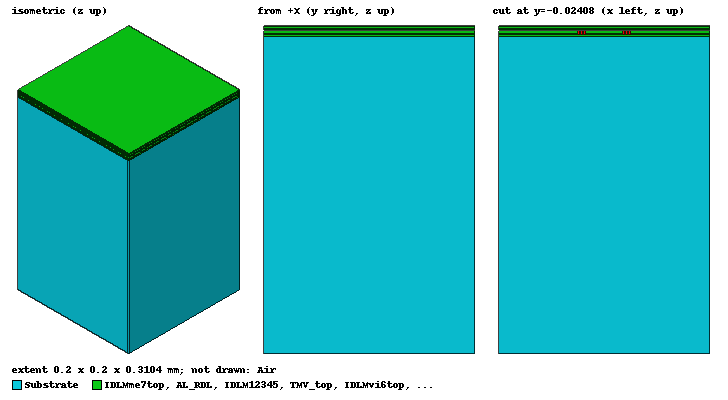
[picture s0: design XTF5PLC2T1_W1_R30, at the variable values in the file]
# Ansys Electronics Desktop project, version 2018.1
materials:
  vacuum: permittivity=1
  UMC40_SI: permittivity=11.9 permeability=1 conductivity=10 lande_g_factor=2
  UMC40_IDL: permittivity=2.6 permeability=1 conductivity=10 lande_g_factor=2
  UMC40_IDL2p6: permittivity=2.6 permeability=1 conductivity=10 lande_g_factor=2
  UMC40_IDL4p2: permittivity=4.2 permeability=1 conductivity=10 lande_g_factor=2
  UMC40_IDL5: permittivity=5 permeability=1 conductivity=10 lande_g_factor=2
  UMC40_IDL7: permittivity=7 permeability=1 conductivity=10 lande_g_factor=2
  ME1: permittivity=1 permeability=1 conductivity=30300000 lande_g_factor=2
  ME2: permittivity=1 permeability=1 conductivity=30300000 lande_g_factor=2
  ME3: permittivity=1 permeability=1 conductivity=30300000 lande_g_factor=2
  ME4: permittivity=1 permeability=1 conductivity=30300000 lande_g_factor=2
  ME5: permittivity=1 permeability=1 conductivity=30300000 lande_g_factor=2
  ME6: permittivity=1 permeability=1 conductivity=30300000 lande_g_factor=2
  ME7: permittivity=1 permeability=1 conductivity=30300000 lande_g_factor=2
  AL_RDL: permittivity=1 permeability=1 conductivity=30300000 lande_g_factor=2
  TMV_RDL: permittivity=1 permeability=1 conductivity=3143000 lande_g_factor=2
  VI6: permittivity=1 permeability=1 conductivity=1160000 lande_g_factor=2
  VI5: permittivity=1 permeability=1 conductivity=1160000 lande_g_factor=2
  VI4: permittivity=1 permeability=1 conductivity=1160000 lande_g_factor=2
  VI3: permittivity=1 permeability=1 conductivity=1160000 lande_g_factor=2
  VI2: permittivity=1 permeability=1 conductivity=1160000 lande_g_factor=2
  VI1: permittivity=1 permeability=1 conductivity=1160000 lande_g_factor=2
  air: permittivity=1.0006 permeability=1.0000004
  default_via_material: permeability=0.999991 conductivity=58000000
  default_via_material0: permeability=0.999991 conductivity=58000000
  default_via_material1: permeability=0.999991 conductivity=58000000
  default_via_material2: permeability=0.999991 conductivity=58000000
  default_via_material3: permeability=0.999991 conductivity=58000000
  default_via_material4: permeability=0.999991 conductivity=58000000
  default_via_material5: permeability=0.999991 conductivity=58000000
  default_via_material6: permeability=0.999991 conductivity=58000000
  default_via_material7: permeability=0.999991 conductivity=58000000
  default_via_material8: permeability=0.999991 conductivity=58000000
  default_via_material9: permeability=0.999991 conductivity=58000000
  default_via_material10: permeability=0.999991 conductivity=58000000
  default_via_material11: permeability=0.999991 conductivity=58000000
  default_via_material12: permeability=0.999991 conductivity=58000000
  default_via_material13: permeability=0.999991 conductivity=58000000

design XTF5PLC2T1_W1_R30 (HFSS, DrivenModal, model units mm)
options: Allow_Material_Override
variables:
  extent_x_pos = 1000mm
  extent_y_pos = 1000mm
  extent_x_size = -1000mm
  extent_y_size = -1000mm
  ME1_thickness = 0.00014mm
  ME1_lower_elevation = 0.30033mm
  extent_x_pos_1 = 1000mm
  extent_y_pos_1 = 1000mm
  extent_x_size_1 = -1000mm
  extent_y_size_1 = -1000mm
  ME2_thickness = 0.00014mm
  ME2_lower_elevation = 0.300575mm
  extent_x_pos_2 = 1000mm
  extent_y_pos_2 = 1000mm
  extent_x_size_2 = -1000mm
  extent_y_size_2 = -1000mm
  ME3_thickness = 0.00014mm
  ME3_lower_elevation = 0.300092mm
  extent_x_pos_3 = 1000mm
  extent_y_pos_3 = 1000mm
  extent_x_size_3 = -1000mm
  extent_y_size_3 = -1000mm
  ME4_thickness = 0.00014mm
  ME4_lower_elevation = 0.301095mm
  extent_x_pos_4 = 1000mm
  extent_y_pos_4 = 1000mm
  extent_x_size_4 = -1000mm
  extent_y_size_4 = -1000mm
  ME5_thickness = 0.00014mm
  ME5_lower_elevation = 0.301355mm
  extent_x_pos_5 = 1000mm
  extent_y_pos_5 = 1000mm
  extent_x_size_5 = -1000mm
  extent_y_size_5 = -1000mm
  ME6_thickness = 0.00014mm
  ME6_lower_elevation = 0.301615mm
  extent_x_pos_6 = -0.0345mm
  extent_y_pos_6 = -0.036mm
  extent_x_size_6 = 0.069mm
  extent_y_size_6 = 0.0705mm
  ME7_thickness = 0.0034mm
  ME7_lower_elevation = 0.302345mm
  extent_x_pos_7 = 1000mm
  extent_y_pos_7 = 1000mm
  extent_x_size_7 = -1000mm
  extent_y_size_7 = -1000mm
  AL_RDL_thickness = 0.0032mm
  AL_RDL_lower_elevation = 0.300515mm
  extent_x_pos_8 = 1000mm
  extent_y_pos_8 = 1000mm
  extent_x_size_8 = -1000mm
  extent_y_size_8 = -1000mm
  TMV_RDL_thickness = 0.00077mm
  TMV_RDL_lower_elevation = 0.305745mm
  extent_x_pos_9 = 1000mm
  extent_y_pos_9 = 1000mm
  extent_x_size_9 = -1000mm
  extent_y_size_9 = -1000mm
  VI6_thickness = 0.00059mm
  VI6_lower_elevation = 0.301755mm
  extent_x_pos_10 = 1000mm
  extent_y_pos_10 = 1000mm
  extent_x_size_10 = -1000mm
  extent_y_size_10 = -1000mm
  VI5_thickness = 0.000115mm
  VI5_lower_elevation = 0.301495mm
  extent_x_pos_11 = 1000mm
  extent_y_pos_11 = 1000mm
  extent_x_size_11 = -1000mm
  extent_y_size_11 = -1000mm
  VI4_thickness = 0.00012mm
  VI4_lower_elevation = 0.301235mm
  extent_x_pos_12 = 1000mm
  extent_y_pos_12 = 1000mm
  extent_x_size_12 = -1000mm
  extent_y_size_12 = -1000mm
  VI3_thickness = 0.00012mm
  VI3_lower_elevation = 0.300985mm
  extent_x_pos_13 = 1000mm
  extent_y_pos_13 = 1000mm
  extent_x_size_13 = -1000mm
  extent_y_size_13 = -1000mm
  VI2_thickness = 0.00012mm
  VI2_lower_elevation = 0.300715mm
  extent_x_pos_14 = 1000mm
  extent_y_pos_14 = 1000mm
  extent_x_size_14 = -1000mm
  extent_y_size_14 = -1000mm
  VI1_thickness = 0.00012mm
  VI1_lower_elevation = 0.300455mm
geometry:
  Substrate [UMC40_SI] = box(corner=(-100um, -100um, 0um), size=(200um, 200um, 300um))
  IDLM12345 [UMC40_IDL] = box(corner=(-100um, -100um, 300um), size=(200um, 200um, 1.67um))
  IDLM6 [UMC40_IDL2p6] = box(corner=(-100um, -100um, 301.67um), size=(200um, 200um, 0.14um))
  IDLMvi6sub [UMC40_IDL5] = box(corner=(-100um, -100um, 301.75um), size=(200um, 200um, 0.06um))
  IDLMvi6top [UMC40_IDL4p2] = box(corner=(-100um, -100um, 301.81um), size=(200um, 200um, 0.53um))
  IDLMme7sub [UMC40_IDL5] = box(corner=(-100um, -100um, 302.34um), size=(200um, 200um, 0.2um))
  IDLMme7top [UMC40_IDL4p2] = box(corner=(-100um, -100um, 302.54um), size=(200um, 200um, 3.2um))
  TMV_sub [UMC40_IDL7] = box(corner=(-100um, -100um, 305.745um), size=(200um, 200um, 0.07um))
  TMV_top [UMC40_IDL4p2] = box(corner=(-100um, -100um, 306.515um), size=(200um, 200um, 0.7um))
  AL_RDL [AL_RDL] = box(corner=(-100um, -100um, 307.215um), size=(200um, 200um, 3.2um))
  PSV [UMC40_IDL7] = box(corner=(-100um, -100um, 309.715um), size=(200um, 200um, 0.5um))
  Air [Air] = box(corner=(-200um, -200um, -100um), size=(400um, 400um, 400um))
  ME7_1 [ME7] = polyline(z=ME7_lower_elevation, xy in mm: (0.0005, -0.032) (-0.0005, -0.032) (-0.0005, -0.035) (0.0005, -0.035) (0.0005, -0.032), closed, covered)
  ME7_1.sweep_along_vector((0mm, 0mm, ME7_thickness))
  ME7_2 [ME7] = polyline(z=ME7_lower_elevation, xy in mm: (0.003, 0.0315) (0.013547, 0.0315) (0.01384, 0.031793) (0.01384, 0.032207) (0.013547, 0.0325) (0.003, 0.0325) (0.003, 0.0315), closed, covered)
  ME7_2.sweep_along_vector((0mm, 0mm, ME7_thickness))
  ME7_3 [ME7] = polyline(z=ME7_lower_elevation, xy in mm: (0.031793, 0.01284) (0.032207, 0.01284) (0.0325, 0.013133) (0.0325, 0.013547) (0.013547, 0.0325) (0.013133, 0.0325) (0.01284, 0.032207) (0.01284, 0.031793) (0.031793, 0.01284), closed, covered)
  ME7_3.sweep_along_vector((0mm, 0mm, ME7_thickness))
  ME7_4 [ME7] = polyline(z=ME7_lower_elevation, xy in mm: (0.031793, -0.01384) (0.032207, -0.01384) (0.0325, -0.013547) (0.0325, 0.013547) (0.032207, 0.01384) (0.031793, 0.01384) (0.0315, 0.013547) (0.0315, -0.013547) (0.031793, -0.01384), closed, covered)
  ME7_4.sweep_along_vector((0mm, 0mm, ME7_thickness))
  ME7_5 [ME7] = polyline(z=ME7_lower_elevation, xy in mm: (0.013133, -0.0325) (0.013547, -0.0325) (0.0325, -0.013547) (0.0325, -0.013133) (0.032207, -0.01284) (0.031793, -0.01284) (0.01284, -0.031793) (0.01284, -0.032207) (0.013133, -0.0325), closed, covered)
  ME7_5.sweep_along_vector((0mm, 0mm, ME7_thickness))
  ME7_6 [ME7] = polyline(z=ME7_lower_elevation, xy in mm: (-0.013547, -0.0325) (0.013547, -0.0325) (0.01384, -0.032207) (0.01384, -0.031793) (0.013547, -0.0315) (-0.013547, -0.0315) (-0.01384, -0.031793) (-0.01384, -0.032207) (-0.013547, -0.0325), closed, covered)
  ME7_6.sweep_along_vector((0mm, 0mm, ME7_thickness))
  ME7_7 [ME7] = polyline(z=ME7_lower_elevation, xy in mm: (-0.013547, -0.0325) (-0.013133, -0.0325) (-0.01284, -0.032207) (-0.01284, -0.031793) (-0.031793, -0.01284) (-0.032207, -0.01284) (-0.0325, -0.013133) (-0.0325, -0.013547) (-0.013547, -0.0325), closed, covered)
  ME7_7.sweep_along_vector((0mm, 0mm, ME7_thickness))
  ME7_8 [ME7] = polyline(z=ME7_lower_elevation, xy in mm: (-0.032207, -0.01384) (-0.031793, -0.01384) (-0.0315, -0.013547) (-0.0315, 0.013547) (-0.031793, 0.01384) (-0.032207, 0.01384) (-0.0325, 0.013547) (-0.0325, -0.013547) (-0.032207, -0.01384), closed, covered)
  ME7_8.sweep_along_vector((0mm, 0mm, ME7_thickness))
  ME7_9 [ME7] = polyline(z=ME7_lower_elevation, xy in mm: (-0.032207, 0.01284) (-0.031793, 0.01284) (-0.01284, 0.031793) (-0.01284, 0.032207) (-0.013133, 0.0325) (-0.013547, 0.0325) (-0.0325, 0.013547) (-0.0325, 0.013133) (-0.032207, 0.01284), closed, covered)
  ME7_9.sweep_along_vector((0mm, 0mm, ME7_thickness))
  ME7_10 [ME7] = polyline(z=ME7_lower_elevation, xy in mm: (-0.013547, 0.0315) (-0.003, 0.0315) (-0.003, 0.0325) (-0.013547, 0.0325) (-0.01384, 0.032207) (-0.01384, 0.031793) (-0.013547, 0.0315), closed, covered)
  ME7_10.sweep_along_vector((0mm, 0mm, ME7_thickness))
  ME7_11 [ME7] = polyline(z=ME7_lower_elevation, xy in mm: (0.0025, -0.036) (0.0035, -0.036) (0.0035, -0.033793) (0.003207, -0.0335) (0.002793, -0.0335) (0.0025, -0.033793) (0.0025, -0.036), closed, covered)
  ME7_11.sweep_along_vector((0mm, 0mm, ME7_thickness))
  ME7_12 [ME7] = polyline(z=ME7_lower_elevation, xy in mm: (0.002793, -0.0345) (0.014377, -0.0345) (0.01467, -0.034207) (0.01467, -0.033793) (0.014377, -0.0335) (0.002793, -0.0335) (0.0025, -0.033793) (0.0025, -0.034207) (0.002793, -0.0345), closed, covered)
  ME7_12.sweep_along_vector((0mm, 0mm, ME7_thickness))
  ME7_13 [ME7] = polyline(z=ME7_lower_elevation, xy in mm: (0.013963, -0.0345) (0.014377, -0.0345) (0.0345, -0.014377) (0.0345, -0.013963) (0.034207, -0.01367) (0.033793, -0.01367) (0.01367, -0.033793) (0.01367, -0.034207) (0.013963, -0.0345), closed, covered)
  ME7_13.sweep_along_vector((0mm, 0mm, ME7_thickness))
  ME7_14 [ME7] = polyline(z=ME7_lower_elevation, xy in mm: (0.033793, -0.01467) (0.034207, -0.01467) (0.0345, -0.014377) (0.0345, 0.014377) (0.034207, 0.01467) (0.033793, 0.01467) (0.0335, 0.014377) (0.0335, -0.014377) (0.033793, -0.01467), closed, covered)
  ME7_14.sweep_along_vector((0mm, 0mm, ME7_thickness))
  ME7_15 [ME7] = polyline(z=ME7_lower_elevation, xy in mm: (0.033793, 0.01367) (0.034207, 0.01367) (0.0345, 0.013963) (0.0345, 0.014377) (0.014377, 0.0345) (0.013963, 0.0345) (0.01367, 0.034207) (0.01367, 0.033793) (0.033793, 0.01367), closed, covered)
  ME7_15.sweep_along_vector((0mm, 0mm, ME7_thickness))
  ME7_16 [ME7] = polyline(z=ME7_lower_elevation, xy in mm: (-0.014377, 0.0335) (0.014377, 0.0335) (0.01467, 0.033793) (0.01467, 0.034207) (0.014377, 0.0345) (-0.014377, 0.0345) (-0.01467, 0.034207) (-0.01467, 0.033793) (-0.014377, 0.0335), closed, covered)
  ME7_16.sweep_along_vector((0mm, 0mm, ME7_thickness))
  ME7_17 [ME7] = polyline(z=ME7_lower_elevation, xy in mm: (-0.034207, 0.01367) (-0.033793, 0.01367) (-0.01367, 0.033793) (-0.01367, 0.034207) (-0.013963, 0.0345) (-0.014377, 0.0345) (-0.0345, 0.014377) (-0.0345, 0.013963) (-0.034207, 0.01367), closed, covered)
  ME7_17.sweep_along_vector((0mm, 0mm, ME7_thickness))
  ME7_18 [ME7] = polyline(z=ME7_lower_elevation, xy in mm: (-0.034207, -0.01467) (-0.033793, -0.01467) (-0.0335, -0.014377) (-0.0335, 0.014377) (-0.033793, 0.01467) (-0.034207, 0.01467) (-0.0345, 0.014377) (-0.0345, -0.014377) (-0.034207, -0.01467), closed, covered)
  ME7_18.sweep_along_vector((0mm, 0mm, ME7_thickness))
  ME7_19 [ME7] = polyline(z=ME7_lower_elevation, xy in mm: (-0.014377, -0.0345) (-0.013963, -0.0345) (-0.01367, -0.034207) (-0.01367, -0.033793) (-0.033793, -0.01367) (-0.034207, -0.01367) (-0.0345, -0.013963) (-0.0345, -0.014377) (-0.014377, -0.0345), closed, covered)
  ME7_19.sweep_along_vector((0mm, 0mm, ME7_thickness))
  ME7_20 [ME7] = polyline(z=ME7_lower_elevation, xy in mm: (-0.014377, -0.0345) (-0.002793, -0.0345) (-0.0025, -0.034207) (-0.0025, -0.033793) (-0.002793, -0.0335) (-0.014377, -0.0335) (-0.01467, -0.033793) (-0.01467, -0.034207) (-0.014377, -0.0345), closed, covered)
  ME7_20.sweep_along_vector((0mm, 0mm, ME7_thickness))
  ME7_21 [ME7] = polyline(z=ME7_lower_elevation, xy in mm: (-0.0035, -0.036) (-0.0025, -0.036) (-0.0025, -0.033793) (-0.002793, -0.0335) (-0.003207, -0.0335) (-0.0035, -0.033793) (-0.0035, -0.036), closed, covered)
  ME7_21.sweep_along_vector((0mm, 0mm, ME7_thickness))
  ME7_22 [ME7] = polyline(z=ME7_lower_elevation, xy in mm: (0.003, -0.0305) (0.012712, -0.0305) (0.013005, -0.030207) (0.013005, -0.029793) (0.012712, -0.0295) (0.003, -0.0295) (0.003, -0.0305), closed, covered)
  ME7_22.sweep_along_vector((0mm, 0mm, ME7_thickness))
  ME7_23 [ME7] = polyline(z=ME7_lower_elevation, xy in mm: (0.012298, -0.0305) (0.012712, -0.0305) (0.0305, -0.012712) (0.0305, -0.012298) (0.030207, -0.012005) (0.029793, -0.012005) (0.012005, -0.029793) (0.012005, -0.030207) (0.012298, -0.0305), closed, covered)
  ME7_23.sweep_along_vector((0mm, 0mm, ME7_thickness))
  ME7_24 [ME7] = polyline(z=ME7_lower_elevation, xy in mm: (0.029793, -0.013005) (0.030207, -0.013005) (0.0305, -0.012712) (0.0305, 0.012712) (0.030207, 0.013005) (0.029793, 0.013005) (0.0295, 0.012712) (0.0295, -0.012712) (0.029793, -0.013005), closed, covered)
  ME7_24.sweep_along_vector((0mm, 0mm, ME7_thickness))
  ME7_25 [ME7] = polyline(z=ME7_lower_elevation, xy in mm: (0.029793, 0.012005) (0.030207, 0.012005) (0.0305, 0.012298) (0.0305, 0.012712) (0.012712, 0.0305) (0.012298, 0.0305) (0.012005, 0.030207) (0.012005, 0.029793) (0.029793, 0.012005), closed, covered)
  ME7_25.sweep_along_vector((0mm, 0mm, ME7_thickness))
  ME7_26 [ME7] = polyline(z=ME7_lower_elevation, xy in mm: (-0.012712, 0.0295) (0.012712, 0.0295) (0.013005, 0.029793) (0.013005, 0.030207) (0.012712, 0.0305) (-0.012712, 0.0305) (-0.013005, 0.030207) (-0.013005, 0.029793) (-0.012712, 0.0295), closed, covered)
  ME7_26.sweep_along_vector((0mm, 0mm, ME7_thickness))
  ME7_27 [ME7] = polyline(z=ME7_lower_elevation, xy in mm: (-0.030207, 0.012005) (-0.029793, 0.012005) (-0.012005, 0.029793) (-0.012005, 0.030207) (-0.012298, 0.0305) (-0.012712, 0.0305) (-0.0305, 0.012712) (-0.0305, 0.012298) (-0.030207, 0.012005), closed, covered)
  ME7_27.sweep_along_vector((0mm, 0mm, ME7_thickness))
  ME7_28 [ME7] = polyline(z=ME7_lower_elevation, xy in mm: (-0.030207, -0.013005) (-0.029793, -0.013005) (-0.0295, -0.012712) (-0.0295, 0.012712) (-0.029793, 0.013005) (-0.030207, 0.013005) (-0.0305, 0.012712) (-0.0305, -0.012712) (-0.030207, -0.013005), closed, covered)
  ME7_28.sweep_along_vector((0mm, 0mm, ME7_thickness))
  ME7_29 [ME7] = polyline(z=ME7_lower_elevation, xy in mm: (-0.012712, -0.0305) (-0.012298, -0.0305) (-0.012005, -0.030207) (-0.012005, -0.029793) (-0.029793, -0.012005) (-0.030207, -0.012005) (-0.0305, -0.012298) (-0.0305, -0.012712) (-0.012712, -0.0305), closed, covered)
  ME7_29.sweep_along_vector((0mm, 0mm, ME7_thickness))
  ME7_30 [ME7] = polyline(z=ME7_lower_elevation, xy in mm: (-0.012712, -0.0305) (-0.003, -0.0305) (-0.003, -0.0295) (-0.012712, -0.0295) (-0.013005, -0.029793) (-0.013005, -0.030207) (-0.012712, -0.0305), closed, covered)
  ME7_30.sweep_along_vector((0mm, 0mm, ME7_thickness))
  ME7_31 [ME7] = polyline(z=ME7_lower_elevation, xy in mm: (0.0025, 0.032) (0.0035, 0.032) (0.0035, 0.034) (0.0025, 0.034) (0.0025, 0.032), closed, covered)
  ME7_31.sweep_along_vector((0mm, 0mm, ME7_thickness))
  ME7_32 [ME7] = polyline(z=ME7_lower_elevation, xy in mm: (-0.0035, 0.032) (-0.0025, 0.032) (-0.0025, 0.034) (-0.0035, 0.034) (-0.0035, 0.032), closed, covered)
  ME7_32.sweep_along_vector((0mm, 0mm, ME7_thickness))
  ME7_33 [ME7] = polyline(z=ME7_lower_elevation, xy in mm: (0.0025, -0.032) (0.0035, -0.032) (0.0035, -0.03) (0.0025, -0.03) (0.0025, -0.032), closed, covered)
  ME7_33.sweep_along_vector((0mm, 0mm, ME7_thickness))
  ME7_34 [ME7] = polyline(z=ME7_lower_elevation, xy in mm: (-0.0035, -0.032) (-0.0025, -0.032) (-0.0025, -0.03) (-0.0035, -0.03) (-0.0035, -0.032), closed, covered)
  ME7_34.sweep_along_vector((0mm, 0mm, ME7_thickness))
  pa = rectangle(corner=(-3.5um, -32um, 301.495um), z_size=0.85um, x_size=1um)
  pb = rectangle(corner=(2.5um, -32um, 301.495um), z_size=0.85um, x_size=1um)
  pc = rectangle(corner=(-3.5um, 34um, 301.495um), z_size=0.85um, x_size=1um)
  pd = rectangle(corner=(2.5um, 34um, 301.495um), z_size=0.85um, x_size=1um)
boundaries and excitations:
  Rad1: Radiation Faces=Air.face(all 6)
  1: Lumped Port Objects=pa Modes{Mode1{IntLine{middle of pa.edge(z at corner) -> middle of pa.edge(z opposite corner)} CharImp=Zpi RenormImp=50ohm}} Impedance=50ohm
  2: Lumped Port Objects=pb Modes{Mode1{IntLine{middle of pb.edge(z at corner) -> middle of pb.edge(z opposite corner)} CharImp=Zpi RenormImp=50ohm}} Impedance=50ohm
  3: Lumped Port Objects=pc Modes{Mode1{IntLine{middle of pc.edge(z at corner) -> middle of pc.edge(z opposite corner)} CharImp=Zpi RenormImp=50ohm}} Impedance=50ohm
  4: Lumped Port Objects=pd Modes{Mode1{IntLine{middle of pd.edge(z at corner) -> middle of pd.edge(z opposite corner)} CharImp=Zpi RenormImp=50ohm}} Impedance=50ohm
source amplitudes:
  1:1: 1W 0deg
  2:1, 3:1, 4:1: 0W 0deg
